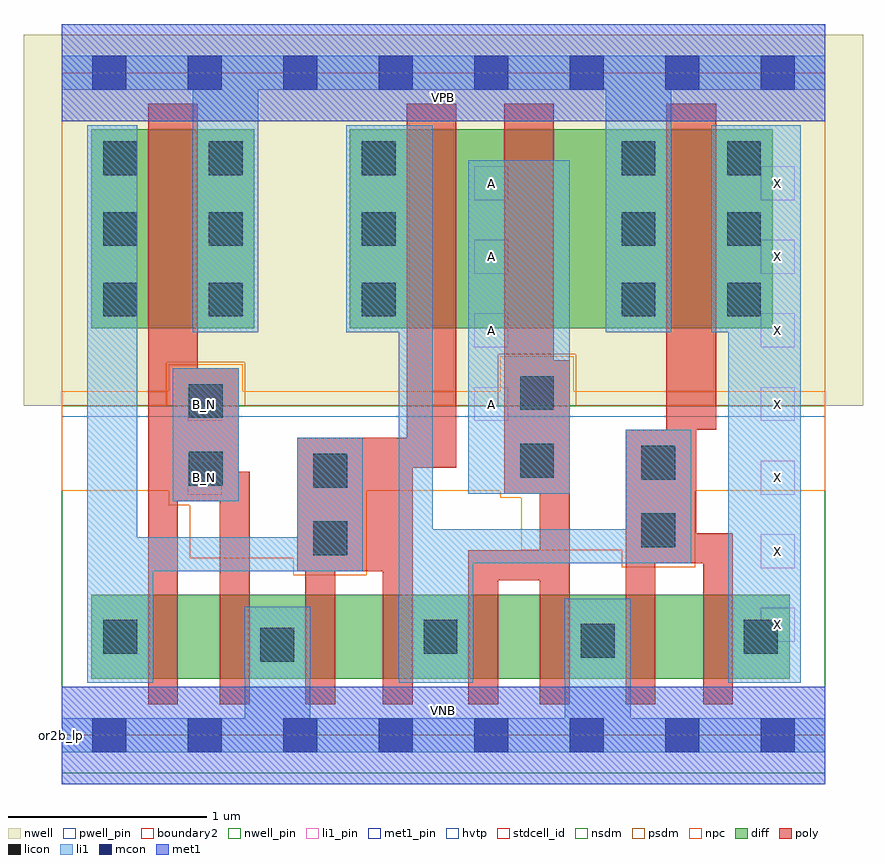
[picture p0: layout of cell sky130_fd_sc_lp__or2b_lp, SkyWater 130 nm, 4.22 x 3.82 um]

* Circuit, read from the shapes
.subckt sky130_fd_sc_lp__or2b_lp A B_N VGND VNB VPB VPWR X
XM1 n1 B_N n2 VNB sky130_fd_pr__nfet_01v8 w=0.42 l=0.15
XM2 VGND B_N n1 VNB sky130_fd_pr__nfet_01v8 w=0.42 l=0.15
XM3 n3 n2 VGND VNB sky130_fd_pr__nfet_01v8 w=0.42 l=0.15
XM4 n4 n2 n3 VNB sky130_fd_pr__nfet_01v8 w=0.42 l=0.15
XM5 n5 A n4 VNB sky130_fd_pr__nfet_01v8 w=0.42 l=0.15
XM6 VGND A n5 VNB sky130_fd_pr__nfet_01v8 w=0.42 l=0.15
XM7 n6 n4 VGND VNB sky130_fd_pr__nfet_01v8 w=0.42 l=0.15
XM8 X n4 n6 VNB sky130_fd_pr__nfet_01v8 w=0.42 l=0.15
XM9 VPWR B_N n2 VPB sky130_fd_pr__pfet_01v8_hvt w=1 l=0.25
XM10 n7 n2 n4 VPB sky130_fd_pr__pfet_01v8_hvt w=1 l=0.25
XM11 VPWR A n7 VPB sky130_fd_pr__pfet_01v8_hvt w=1 l=0.25
XM12 X n4 VPWR VPB sky130_fd_pr__pfet_01v8_hvt w=1 l=0.25
.ends

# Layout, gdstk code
import gdstk
lib = gdstk.Library(unit=1e-6, precision=1e-09)
def R(c, l, rs):  # rectangles x0, y0, x1, y1
    for r in rs: c.add(gdstk.rectangle(r[:2], r[2:], *l))
def A(c, l, x, y, w, h, nx, ny, dx, dy):  # array of equal rectangles
    R(c, l, [(x+i*dx, y+j*dy, x+i*dx+w, y+j*dy+h) for i in range(nx) for j in range(ny)])
def P(c, l, *ps):  # polygons
    for p in ps: c.add(gdstk.Polygon(p, *l))
nwell_pin = (64, 16)
nwell = (64, 20)
diff = (65, 20)
poly = (66, 20)
licon = (66, 44)
li1_pin = (67, 16)
li1 = (67, 20)
mcon = (67, 44)
met1_pin = (68, 16)
met1 = (68, 20)
hvtp = (78, 44)
stdcell_id = (81, 4)
nsdm = (93, 44)
psdm = (94, 20)
npc = (95, 20)
pwell_pin = (122, 16)
boundary2 = (236, 0)

sky130_fd_sc_lp__or2b_lp = lib.new_cell('sky130_fd_sc_lp__or2b_lp')
R(sky130_fd_sc_lp__or2b_lp, nwell_pin, [(0,3.085,3.84,3.33)])
R(sky130_fd_sc_lp__or2b_lp, nwell, [(-0.19,1.655,4.03,3.52)])
R(sky130_fd_sc_lp__or2b_lp, diff, [(0.15,0.285,3.66,0.705), (0.15,2.045,0.97,3.045), (1.45,2.045,3.575,3.045)])
P(sky130_fd_sc_lp__or2b_lp, poly, [(0.945,1.325),(0.89,1.325),(0.89,1.845),(0.685,1.845),(0.685,3.175),(0.435,3.175),(0.435,0.155),(0.585,0.155),(0.585,1.175),(0.795,1.175),(0.795,0.155),(0.945,0.155)],
  [(1.985,3.175),(1.735,3.175),(1.735,1.495),(1.185,1.495),(1.185,0.825),(1.225,0.825),(1.225,0.155),(1.375,0.155),(1.375,0.825),(1.615,0.825),(1.615,0.155),(1.765,0.155),(1.765,1.345),(1.985,1.345)],
  [(2.555,1.885),(2.475,1.885),(2.475,3.175),(2.225,3.175),(2.225,1.215),(2.405,1.215),(2.405,0.93),(2.045,0.93),(2.045,0.155),(2.195,0.155),(2.195,0.78),(2.405,0.78),(2.405,0.155),(2.555,0.155)],
  [(3.375,1.015),(3.19,1.015),(3.19,1.535),(3.29,1.535),(3.29,3.175),(3.04,3.175),(3.04,1.535),(2.835,1.535),(2.835,0.155),(2.985,0.155),(2.985,0.865),(3.225,0.865),(3.225,0.155),(3.375,0.155)])
A(sky130_fd_sc_lp__or2b_lp, licon, 0.21, 0.41, 0.17, 0.17, 3, 1, 1.61, 0)
A(sky130_fd_sc_lp__or2b_lp, licon, 0.21, 2.105, 0.17, 0.17, 1, 3, 0, 0.355)
A(sky130_fd_sc_lp__or2b_lp, licon, 0.74, 2.105, 0.17, 0.17, 1, 3, 0, 0.355)
A(sky130_fd_sc_lp__or2b_lp, licon, 1.51, 2.105, 0.17, 0.17, 1, 3, 0, 0.355)
A(sky130_fd_sc_lp__or2b_lp, licon, 2.815, 2.105, 0.17, 0.17, 1, 3, 0, 0.355)
A(sky130_fd_sc_lp__or2b_lp, licon, 3.345, 2.105, 0.17, 0.17, 1, 3, 0, 0.355)
R(sky130_fd_sc_lp__or2b_lp, licon, [(1,0.37,1.17,0.54), (2.61,0.39,2.78,0.56), (1.265,0.905,1.435,1.075), (2.915,0.945,3.085,1.115), (1.265,1.245,1.435,1.415), (0.64,1.255,0.81,1.425), (2.915,1.285,3.085,1.455), (2.305,1.295,2.475,1.465), (0.64,1.595,0.81,1.765), (2.305,1.635,2.475,1.805)])
A(sky130_fd_sc_lp__or2b_lp, li1_pin, 3.515, 0.47, 0.17, 0.17, 1, 3, 0, 0.37)
A(sky130_fd_sc_lp__or2b_lp, li1_pin, 0.635, 1.58, 0.17, 0.17, 3, 1, 1.44, 0)
A(sky130_fd_sc_lp__or2b_lp, li1_pin, 2.075, 1.95, 0.17, 0.17, 1, 3, 0, 0.37)
A(sky130_fd_sc_lp__or2b_lp, li1_pin, 3.515, 1.95, 0.17, 0.17, 1, 3, 0, 0.37)
R(sky130_fd_sc_lp__or2b_lp, li1_pin, [(0.635,1.21,0.805,1.38)])
R(sky130_fd_sc_lp__or2b_lp, li1, [(0.56,1.175,0.89,1.845), (2.045,1.215,2.555,2.89)])
P(sky130_fd_sc_lp__or2b_lp, li1, [(0.66,2.025),(0.66,3.245),(0,3.245),(0,3.415),(3.84,3.415),(3.84,3.245),(3.065,3.245),(3.065,2.025),(2.735,2.025),(2.735,3.245),(0.99,3.245),(0.99,2.025)],
  [(0.92,0.085),(0.92,0.645),(1.25,0.645),(1.25,0.085),(2.53,0.085),(2.53,0.685),(2.86,0.685),(2.86,0.085),(3.84,0.085),(3.84,-0.085),(0,-0.085),(0,0.085)],
  [(0.13,3.065),(0.38,3.065),(0.38,0.995),(1.185,0.995),(1.185,1.495),(1.515,1.495),(1.515,0.825),(0.46,0.825),(0.46,0.265),(0.13,0.265)],
  [(1.695,2.025),(1.43,2.025),(1.43,3.065),(1.865,3.065),(1.865,1.035),(2.835,1.035),(2.835,1.535),(3.165,1.535),(3.165,0.865),(2.07,0.865),(2.07,0.265),(1.695,0.265)],
  [(3.265,2.025),(3.265,3.065),(3.715,3.065),(3.715,0.265),(3.35,0.265),(3.35,2.025)])
A(sky130_fd_sc_lp__or2b_lp, mcon, 0.155, -0.085, 0.17, 0.17, 8, 2, 0.48, 3.33)
R(sky130_fd_sc_lp__or2b_lp, met1_pin, [(0,0,3.84,0.245), (0,3.085,3.84,3.33)])
R(sky130_fd_sc_lp__or2b_lp, met1, [(0,-0.245,3.84,0.245), (0,3.085,3.84,3.575)])
R(sky130_fd_sc_lp__or2b_lp, hvtp, [(0,1.6,3.84,3.33)])
R(sky130_fd_sc_lp__or2b_lp, stdcell_id, [(0,0,3.84,3.33)])
R(sky130_fd_sc_lp__or2b_lp, nsdm, [(0,-0.19,3.84,1.655)])
P(sky130_fd_sc_lp__or2b_lp, psdm, [(3.84,3.52),(0,3.52),(0,1.655),(0.53,1.655),(0.53,1.875),(0.92,1.875),(0.92,1.655),(2.195,1.655),(2.195,1.915),(2.585,1.915),(2.585,1.655),(3.84,1.655)])
P(sky130_fd_sc_lp__or2b_lp, npc, [(3.84,1.73),(2.575,1.73),(2.575,1.905),(2.205,1.905),(2.205,1.73),(0.91,1.73),(0.91,1.865),(0.54,1.865),(0.54,1.73),(0,1.73),(0,1.23),(0.54,1.23),(0.54,1.155),(0.645,1.155),(0.645,0.89),(1.165,0.89),(1.165,0.805),(1.535,0.805),(1.535,1.23),(2.205,1.23),(2.205,1.195),(2.31,1.195),(2.31,0.93),(2.815,0.93),(2.815,0.845),(3.185,0.845),(3.185,1.23),(3.84,1.23)])
R(sky130_fd_sc_lp__or2b_lp, pwell_pin, [(0,0,3.84,0.245)])
R(sky130_fd_sc_lp__or2b_lp, boundary2, [(0,0,3.84,3.33)])
sky130_fd_sc_lp__or2b_lp.add(gdstk.Label('VNB', (1.92,0.123), layer=64, texttype=59))
sky130_fd_sc_lp__or2b_lp.add(gdstk.Label('VPB', (1.92,3.208), layer=64, texttype=5))
sky130_fd_sc_lp__or2b_lp.add(gdstk.Label('or2b_lp', (0,0), layer=83, texttype=44))
sky130_fd_sc_lp__or2b_lp.add(gdstk.Label('VPWR', (1.92,3.208), layer=68, texttype=5))
sky130_fd_sc_lp__or2b_lp.add(gdstk.Label('VGND', (1.92,0.123), layer=68, texttype=5))
sky130_fd_sc_lp__or2b_lp.add(gdstk.Label('B_N', (0.72,1.295), layer=67, texttype=5))
sky130_fd_sc_lp__or2b_lp.add(gdstk.Label('B_N', (0.72,1.665), layer=67, texttype=5))
sky130_fd_sc_lp__or2b_lp.add(gdstk.Label('A', (2.16,1.665), layer=67, texttype=5))
sky130_fd_sc_lp__or2b_lp.add(gdstk.Label('A', (2.16,2.035), layer=67, texttype=5))
sky130_fd_sc_lp__or2b_lp.add(gdstk.Label('A', (2.16,2.405), layer=67, texttype=5))
sky130_fd_sc_lp__or2b_lp.add(gdstk.Label('A', (2.16,2.775), layer=67, texttype=5))
sky130_fd_sc_lp__or2b_lp.add(gdstk.Label('X', (3.6,0.555), layer=67, texttype=5))
sky130_fd_sc_lp__or2b_lp.add(gdstk.Label('X', (3.6,0.925), layer=67, texttype=5))
sky130_fd_sc_lp__or2b_lp.add(gdstk.Label('X', (3.6,1.295), layer=67, texttype=5))
sky130_fd_sc_lp__or2b_lp.add(gdstk.Label('X', (3.6,1.665), layer=67, texttype=5))
sky130_fd_sc_lp__or2b_lp.add(gdstk.Label('X', (3.6,2.035), layer=67, texttype=5))
sky130_fd_sc_lp__or2b_lp.add(gdstk.Label('X', (3.6,2.405), layer=67, texttype=5))
sky130_fd_sc_lp__or2b_lp.add(gdstk.Label('X', (3.6,2.775), layer=67, texttype=5))

lib.write_gds('sky130_fd_sc_lp__or2b_lp.gds')
